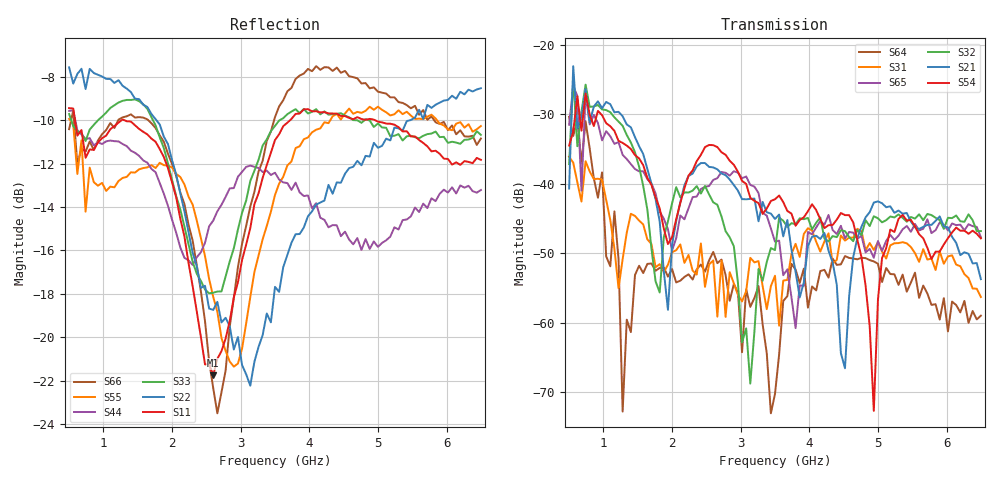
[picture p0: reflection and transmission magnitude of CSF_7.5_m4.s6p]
!Keysight Technologies,M9804A,MY58100912,A.14.10.03
!Date: Thursday, April 27, 2023 10:28:33
!Correction: S11(C  6-Port  )
!S12(C  6-Port  )
!S13(C  6-Port  )
!S14(C  6-Port  )
!S15(C  6-Port  )
!S16(C  6-Port  )
!S21(C  6-Port  )
!S22(C  6-Port  )
!S23(C  6-Port  )
!S24(C  6-Port  )
!S25(C  6-Port  )
!S26(C  6-Port  )
!S31(C  6-Port  )
!S32(C  6-Port  )
!S33(C  6-Port  )
!S34(C  6-Port  )
!S35(C  6-Port  )
!S36(C  6-Port  )
!S41(C  6-Port  )
!S42(C  6-Port  )
!S43(C  6-Port  )
!S44(C  6-Port  )
!S45(C  6-Port  )
!S46(C  6-Port  )
!S51(C  6-Port  )
!S52(C  6-Port  )
!S53(C  6-Port  )
!S54(C  6-Port  )
!S55(C  6-Port  )
!S56(C  6-Port  )
!S61(C  6-Port  )
!S62(C  6-Port  )
!S63(C  6-Port  )
!S64(C  6-Port  )
!S65(C  6-Port  )
!S66(C  6-Port  )
!S6P File: Measurement: :
# Hz S  RI  R 50
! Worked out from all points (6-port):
!   101 points, 500 MHz to 6.5 GHz, reference 50 ohm
!   strongest paths, dB at 500 MHz, 2 GHz, 3.5 GHz, 5 GHz, 6.5 GHz:
!     S54: -34.5, -47.7, -42.2, -56.7, -47.9
!     S21: -40.7, -48.8, -45.1, -42.5, -53.7
!     S32: -37.2, -42.8, -49.6, -45.0, -46.8
!     S65: -31.5, -49.6, -48.3, -48.2, -47.7
!     S31: -36.1, -49.9, -53.3, -48.4, -56.3
!     S64: -30.4, -52.3, -70.3, -51.5, -59.0
!   lowest |S11| = -21.8 dB at 2.6 GHz (marker M1), VSWR 1.18, Z = 42.7 + j1.94 ohm
!   |S11| at or under -10 dB: 585.9 MHz to 1.265 GHz (679.6 MHz wide, 73.4 % of centre); 1.306 GHz to 3.719 GHz (2.414 GHz wide, 96.1 % of centre); 4.958 GHz to end of sweep
